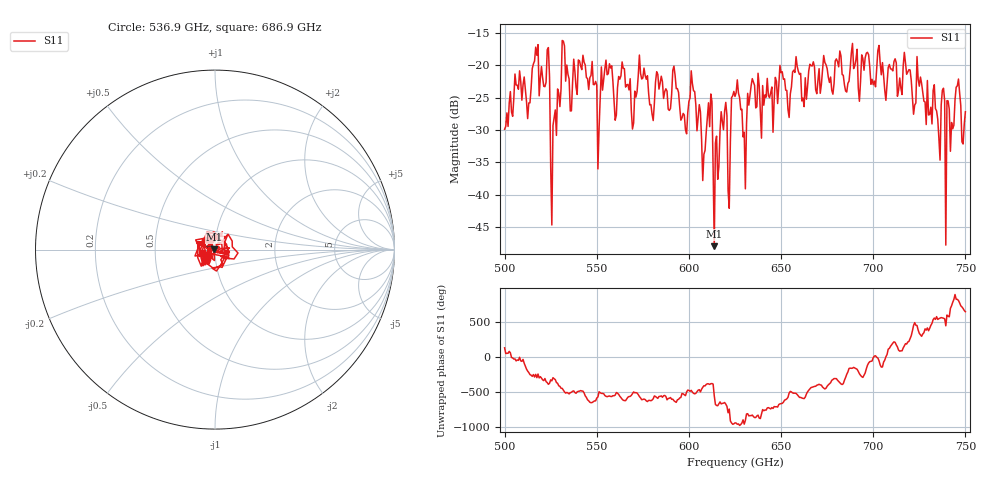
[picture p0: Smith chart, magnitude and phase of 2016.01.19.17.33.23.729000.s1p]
!Created with skrf (http://scikit-rf.org).
# GHz S RI R 50.0
!freq ReS11 ImS11
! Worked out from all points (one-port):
!   401 points, 500 GHz to 750 GHz, reference 50 ohm
!   lowest |S11| = -48.0 dB at 613.8 GHz (marker M1), VSWR 1.01, Z = 49.6 + j0.111 ohm
!   |S11| at or under -10 dB: start of sweep to end of sweep
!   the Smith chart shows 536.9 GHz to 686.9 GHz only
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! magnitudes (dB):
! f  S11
! 500 GHz  -29.9
! 506.9 GHz  -23.1
! 513.1 GHz  -25.8
! 516.9 GHz  -17.2
! 523.1 GHz  -17.6
! 526.2 GHz  -29.3
! 531.2 GHz  -16.1
! 550.6 GHz  -36.0
! 562.5 GHz  -22.1
! 570 GHz  -28.9
! 574.4 GHz  -22.1
! 593.8 GHz  -23.6
! 597.5 GHz  -27.7
! 602.5 GHz  -23.9
! 608.1 GHz  -33.8
! 611.2 GHz  -29.5
! 613.8 GHz  -48.0
! 618.8 GHz  -29.9
! 621.9 GHz  -42.1
! 625 GHz  -24.8
! 630 GHz  -30.3
! 634.4 GHz  -22.0
! 656.2 GHz  -21.0
! 687.5 GHz  -20.4
! 718.8 GHz  -21.0
! 740.6 GHz  -25.5
! 745.6 GHz  -23.1
! 750 GHz  -27.2
